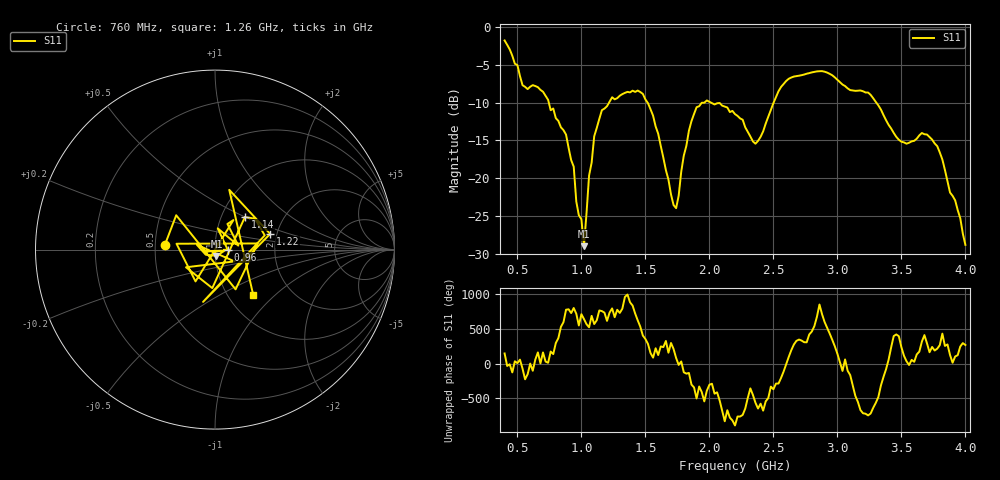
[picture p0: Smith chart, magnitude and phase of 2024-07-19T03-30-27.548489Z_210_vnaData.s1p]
!Created with skrf (http://scikit-rf.org).
# Hz S RI R 50.0
!freq ReS11 ImS11
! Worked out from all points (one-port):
!   181 points, 400 MHz to 4 GHz, reference 50 ohm
!   lowest |S11| = -28.9 dB at 1.02 GHz (marker M1), VSWR 1.07, Z = 50.7 - j3.53 ohm
!   |S11| at or under -10 dB: 745.1 MHz to 1.217 GHz (471.8 MHz wide, 48.1 % of centre); 2.013 GHz to 2.502 GHz (489.5 MHz wide, 21.7 % of centre); 3.303 GHz to end of sweep (the widest 3 of 4)
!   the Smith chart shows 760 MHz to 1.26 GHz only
!   S11 on the Smith chart (normalised r, x): 760 MHz: 0.56, +0.03; 960 MHz: 1.15, +0.00; 1.14 GHz: 1.29, +0.50; 1.22 GHz: 1.84, +0.36; 1.26 GHz: 1.30, -0.74
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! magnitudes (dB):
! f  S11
! 400 MHz  -1.8
! 540 MHz  -7.7
! 760 MHz  -11.0
! 860 MHz  -13.6
! 940 MHz  -18.5
! 960 MHz  -23.1
! 1.02 GHz  -28.9
! 1.06 GHz  -19.6
! 1.14 GHz  -12.2
! 1.22 GHz  -9.9
! 1.26 GHz  -9.6
! 1.3 GHz  -9.1
! 1.48 GHz  -8.9
! 1.6 GHz  -14.1
! 1.72 GHz  -23.5
! 1.76 GHz  -22.3
! 1.8 GHz  -17.0
! 1.9 GHz  -10.6
! 2.2 GHz  -11.5
! 2.36 GHz  -15.4
! 2.54 GHz  -8.5
! 2.66 GHz  -6.6
! 2.9 GHz  -5.9
! 3.1 GHz  -8.4
! 3.24 GHz  -8.7
! 3.56 GHz  -15.3
! 3.78 GHz  -15.8
! 4 GHz  -28.8
